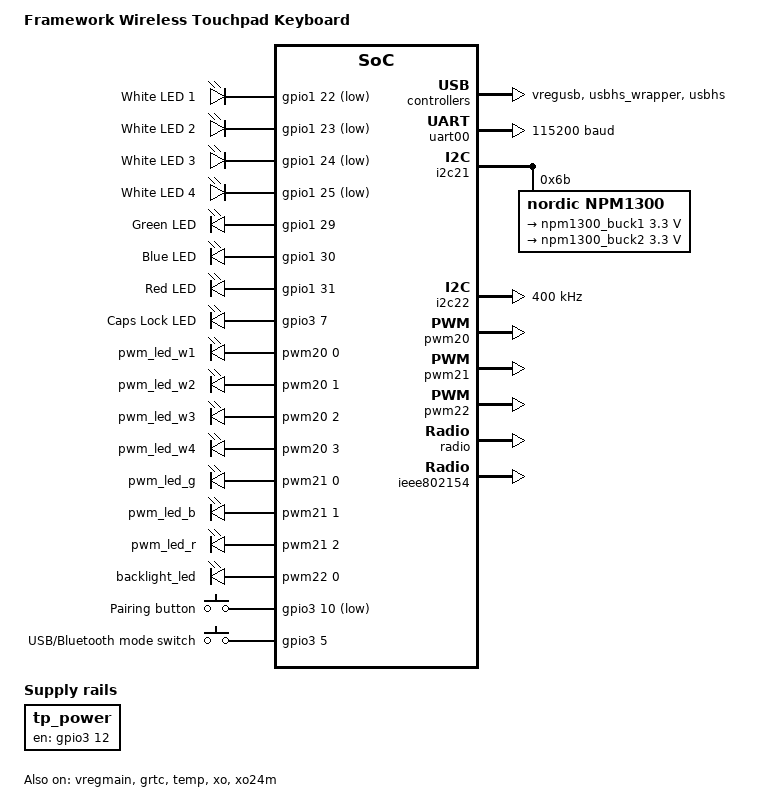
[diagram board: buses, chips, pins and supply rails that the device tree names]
/*
 * Copyright (c) 2026 Framework Computer Inc
 *
 * SPDX-License-Identifier: Apache-2.0
 */

/dts-v1/;

#include <nordic/nrf54lm20a_cpuapp.dtsi>
#include <zephyr/dt-bindings/i2c/i2c.h>
#include "framework_wireless_tp_kb-pinctrl.dtsi"

/ {
	compatible = "framework,wireless_tp_kb_nrf54lm20a-cpuapp";
	model = "Framework Wireless Touchpad Keyboard";

	chosen {
		zephyr,console = &uart00;
		zephyr,shell-uart = &uart00;
		zephyr,uart-mcumgr = &uart00;
		zephyr,bt-mon-uart = &uart00;
		zephyr,bt-c2h-uart = &uart00;
		zephyr,flash-controller = &rram_controller;
		zephyr,flash = &cpuapp_rram;
		zephyr,code-partition = &slot0_partition;
		zephyr,sram = &cpuapp_sram_app;
		zephyr,ieee802154 = &ieee802154;
	};

	leds {
		compatible = "gpio-leds";

		/*
		 * The pull-ups keep the active-low white LEDs off while the pins
		 * are not driven, for example while &pwm20 owns them.
		 */
		led_w1: led-w1 {
			gpios = <&gpio1 22 (GPIO_ACTIVE_LOW | GPIO_PULL_UP)>;
			label = "White LED 1";
		};

		led_w2: led-w2 {
			gpios = <&gpio1 23 (GPIO_ACTIVE_LOW | GPIO_PULL_UP)>;
			label = "White LED 2";
		};

		led_w3: led-w3 {
			gpios = <&gpio1 24 (GPIO_ACTIVE_LOW | GPIO_PULL_UP)>;
			label = "White LED 3";
		};

		led_w4: led-w4 {
			gpios = <&gpio1 25 (GPIO_ACTIVE_LOW | GPIO_PULL_UP)>;
			label = "White LED 4";
		};

		led_g: led-g {
			gpios = <&gpio1 29 GPIO_ACTIVE_HIGH>;
			label = "Green LED";
		};

		led_b: led-b {
			gpios = <&gpio1 30 GPIO_ACTIVE_HIGH>;
			label = "Blue LED";
		};

		led_r: led-r {
			gpios = <&gpio1 31 GPIO_ACTIVE_HIGH>;
			label = "Red LED";
		};

		caps_led: caps-led {
			gpios = <&gpio3 7 GPIO_ACTIVE_HIGH>;
			label = "Caps Lock LED";
		};
	};

	/*
	 * The four white LEDs indicate the Bluetooth pairing/profile state.
	 * They share pins with &led_w1 .. &led_w4.
	 */
	pairing_leds: pairing-leds {
		compatible = "pwm-leds";

		pwm_led_w1: pwm-led-w1 {
			pwms = <&pwm20 0 PWM_HZ(4096) PWM_POLARITY_INVERTED>;
		};

		pwm_led_w2: pwm-led-w2 {
			pwms = <&pwm20 1 PWM_HZ(4096) PWM_POLARITY_INVERTED>;
		};

		pwm_led_w3: pwm-led-w3 {
			pwms = <&pwm20 2 PWM_HZ(4096) PWM_POLARITY_INVERTED>;
		};

		pwm_led_w4: pwm-led-w4 {
			pwms = <&pwm20 3 PWM_HZ(4096) PWM_POLARITY_INVERTED>;
		};
	};

	/* RGB status LED, shares pins with &led_r / &led_g / &led_b. */
	rgb_pwmleds: rgb-pwmleds {
		compatible = "pwm-leds";

		pwm_led_g: pwm-led-g {
			pwms = <&pwm21 0 PWM_HZ(4096) PWM_POLARITY_NORMAL>;
		};

		pwm_led_b: pwm-led-b {
			pwms = <&pwm21 1 PWM_HZ(4096) PWM_POLARITY_NORMAL>;
		};

		pwm_led_r: pwm-led-r {
			pwms = <&pwm21 2 PWM_HZ(4096) PWM_POLARITY_NORMAL>;
		};
	};

	/* Keyboard backlight, powered from the PMIC's BUCK1 (&npm1300_buck1). */
	backlight_pwm: backlight-pwm {
		compatible = "pwm-leds";

		backlight_led: backlight-led {
			pwms = <&pwm22 0 PWM_HZ(4096) PWM_POLARITY_NORMAL>;
		};
	};

	buttons {
		compatible = "gpio-keys";

		/* External pull-up */
		pairing_button: pairing-button {
			gpios = <&gpio3 10 GPIO_ACTIVE_LOW>;
			label = "Pairing button";
			zephyr,code = <INPUT_KEY_0>;
		};

		/* Slide switch selecting USB (wired) or Bluetooth operation */
		protocol_switch: protocol-switch {
			gpios = <&gpio3 5 GPIO_ACTIVE_HIGH>;
			label = "USB/Bluetooth mode switch";
			zephyr,code = <INPUT_KEY_1>;
		};
	};

	/*
	 * Touchpad power rail. Enabled at boot so that a touchpad driver on
	 * &i2c22 finds the device during its initialization.
	 */
	tp_power: tp-power {
		compatible = "regulator-fixed";
		regulator-name = "tp-power";
		enable-gpios = <&gpio3 12 GPIO_ACTIVE_HIGH>;
		regulator-boot-on;
	};

	aliases {
		led0 = &led_r;
		led1 = &led_g;
		led2 = &led_b;
		pwm-led0 = &pwm_led_w1;
		sw0 = &pairing_button;
		watchdog0 = &wdt31;
		mcuboot-button0 = &pairing_button;
		mcuboot-led0 = &led_g;
	};
};

&cpuapp_sram {
	status = "okay";
};

&hfpll {
	clock-frequency = <DT_FREQ_M(128)>;
};

&lfxo {
	load-capacitors = "internal";
	load-capacitance-femtofarad = <17000>;
};

&hfxo {
	load-capacitors = "internal";
	load-capacitance-femtofarad = <15000>;
};

&vregmain {
	status = "okay";
	regulator-initial-mode = <NRF5X_REG_MODE_DCDC>;
};

&vregusb {
	status = "okay";
};

&grtc {
	owned-channels = <0 1 2 3 4 5 6 7 8 9 10 11>;
	/* Channels 7-11 reserved for Zero Latency IRQs, 3-4 for FLPR */
	child-owned-channels = <3 4 7 8 9 10 11>;
	status = "okay";
};

/* Debug UART on the pin header */
&uart00 {
	status = "okay";
	current-speed = <115200>;
	pinctrl-0 = <&uart00_default>;
	pinctrl-1 = <&uart00_sleep>;
	pinctrl-names = "default", "sleep";
};

/*
 * nPM1300 PMIC without charger definition.
 * Add npm1300_charger based on the connected battery.
 */
&i2c21 {
	status = "okay";
	pinctrl-0 = <&i2c21_default>;
	pinctrl-1 = <&i2c21_sleep>;
	pinctrl-names = "default", "sleep";

	npm1300: pmic@6b {
		compatible = "nordic,npm1300";
		reg = <0x6b>;

		npm1300_regulators: regulators {
			compatible = "nordic,npm1300-regulator";

			/*
			 * Keyboard backlight rail. The PMIC enables it at power-on
			 * (VSET1 resistor); it is switched off at boot to save the
			 * buck's quiescent current until an application turns the
			 * backlight on.
			 */
			npm1300_buck1: BUCK1 {
				regulator-min-microvolt = <3300000>;
				regulator-init-microvolt = <3300000>;
				regulator-max-microvolt = <3300000>;
				regulator-boot-off;
			};

			/* 3.3 V rail supplying the nRF54LM20A */
			npm1300_buck2: BUCK2 {
				regulator-min-microvolt = <3300000>;
				regulator-init-microvolt = <3300000>;
				regulator-max-microvolt = <3300000>;
				regulator-boot-on;
			};
		};
	};
};

/*
 * Touchpad connector,  power rail controlled by &tp_power.
 */
&i2c22 {
	status = "okay";
	pinctrl-0 = <&i2c22_default>;
	pinctrl-1 = <&i2c22_sleep>;
	pinctrl-names = "default", "sleep";
	clock-frequency = <I2C_BITRATE_FAST>;
};

/* I2C on the pin header */
&i2c23 {
	status = "disabled";
	pinctrl-0 = <&i2c23_default>;
	pinctrl-1 = <&i2c23_sleep>;
	pinctrl-names = "default", "sleep";
};

/* White Pairing LEDs */
&pwm20 {
	status = "okay";
	pinctrl-0 = <&pwm20_default>;
	pinctrl-1 = <&pwm20_sleep>;
	pinctrl-names = "default", "sleep";
};

/* RGB status LED */
&pwm21 {
	status = "okay";
	pinctrl-0 = <&pwm21_default>;
	pinctrl-1 = <&pwm21_sleep>;
	pinctrl-names = "default", "sleep";
};

/* Backlight PWM */
&pwm22 {
	status = "okay";
	pinctrl-0 = <&pwm22_default>;
	pinctrl-1 = <&pwm22_sleep>;
	pinctrl-names = "default", "sleep";
};

&gpio0 {
	status = "okay";
};

&gpio1 {
	status = "okay";
};

&gpio2 {
	status = "okay";
};

&gpio3 {
	status = "okay";
};

&gpiote20 {
	status = "okay";
};

&gpiote30 {
	status = "okay";
};

&radio {
	status = "okay";
};

&ieee802154 {
	status = "okay";
};

&temp {
	status = "okay";
};

&clock {
	status = "okay";
};

&xo {
	status = "okay";
};

&lfclk {
	status = "okay";
};

&xo24m {
	status = "okay";
};

&usbhs_wrapper {
	status = "okay";
};

zephyr_udc0: &usbhs {
	status = "okay";
};

/*
 * P1.01/P1.02 power up as NFC1/NFC2. The startup code reconfigures them as
 * plain GPIOs so that the key matrix and the header I2C can use them.
 */
&nfct {
	nfct-pins-as-gpios;
};

/*
 * Flash layout matching the factory MCUboot bootloader: 96 kB bootloader
 * with USB serial recovery, a single application slot and 16 kB of settings
 * storage. The last 96 kB of RRAM are reserved for the FLPR core.
 */
&cpuapp_rram {
	partitions {
		ranges;
		#address-cells = <1>;
		#size-cells = <1>;

		boot_partition: partition@0 {
			compatible = "zephyr,mapped-partition";
			label = "mcuboot";
			reg = <0x0 DT_SIZE_K(96)>;
		};

		slot0_partition: partition@18000 {
			compatible = "zephyr,mapped-partition";
			label = "image-0";
			reg = <0x18000 DT_SIZE_K(1828)>;
		};

		storage_partition: partition@1e1000 {
			compatible = "zephyr,mapped-partition";
			label = "storage";
			reg = <0x1e1000 DT_SIZE_K(16)>;
		};
	};
};
